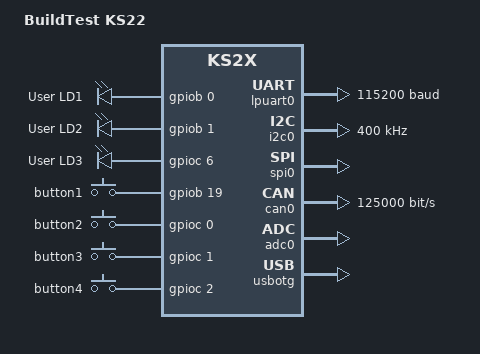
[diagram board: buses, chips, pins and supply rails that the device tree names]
/*
 *
 *
 */

/dts-v1/;
#include <nxp/nxp_ks2x.dtsi>

/ {
	model = "BuildTest KS22";
	compatible = "nxp,mks22f12", "nxp,ks22f", "nxp,ks2x";

	aliases {
		led0 = &green_led;
		led1 = &red_led;
		led2 = &blue_led;
		sw0 = &user_button1;
		sw1 = &user_button2;
		sw2 = &user_button3;
		sw3 = &user_button4;
	};

	chosen {
		zephyr,sram = &sram0;
		zephyr,flash = &flash0;
		zephyr,code-partition = &slot0_partition;
		zephyr,console = &lpuart0;
		zephyr,shell-uart = &lpuart0;
		zephyr,uart-pipe = &lpuart0;
	};

	leds {
		compatible = "gpio-leds";
		red_led: led_1 {
			gpios = <&gpiob 0 0>;
			label = "User LD1";
		};
		green_led: led_2 {
			gpios = <&gpiob 1 0>;
			label = "User LD2";
		};
		blue_led: led_3 {
			gpios = <&gpioc 6 0>;
			label = "User LD3";
		};
	};

	gpio_keys {
		compatible = "gpio-keys";
		user_button1: button_0 {
			label = "button1";
			gpios = <&gpiob 19 GPIO_INT_ACTIVE_HIGH>;
		};
		user_button2: button_1 {
			label = "button2";
			gpios = <&gpioc 0 GPIO_INT_ACTIVE_HIGH>;
		};
		user_button3: button_2 {
			label = "button3";
			gpios = <&gpioc 1 GPIO_INT_ACTIVE_HIGH>;
		};
		user_button4: button_3 {
			label = "button4";
			gpios = <&gpioc 2 GPIO_INT_ACTIVE_HIGH>;
		};
	};
};

&lpuart0 {
	status = "okay";
	current-speed = <115200>;
};

&i2c0 {
	status = "okay";
	clock-frequency = <I2C_BITRATE_FAST>;
	bus-idle-timeout = <1000>;
};

&spi0 {
	status = "okay";
};

&can0 {
	status = "okay";
	bus-speed = <125000>;
};

&adc0 {
	status = "okay";
};

&usbotg {
	status = "okay";
	num-bidir-endpoints = <8>;
};

&gpioa {
	status = "okay";
};

&gpiob {
	status = "okay";
};

&gpioc {
	status = "okay";
};

&gpiod {
	status = "okay";
};

&gpioe {
	status = "okay";
};

&flash0 {
	/* Flash size 256k */
	partitions {
		compatible = "fixed-partitions";
		#address-cells = <1>;
		#size-cells = <1>;

		/* 52K */
		boot_partition: partition@0 {
			label = "mcuboot";
			reg = <0x00000000 0xD000>;
			#read-only;
		};
		/* 204K */
		slot0_partition: partition@D000 {
			label = "image-0";
			reg = <0x0000D000 0x33000>;
		};

	};
};
